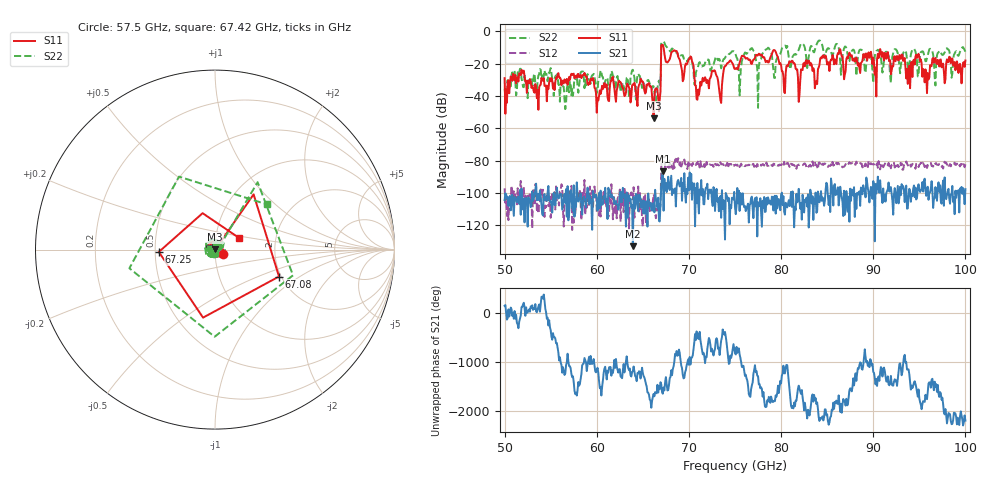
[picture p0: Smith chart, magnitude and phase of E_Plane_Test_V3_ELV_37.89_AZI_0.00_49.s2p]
! 11/26/2026 4:32:22 PM
! C:\ANRITSUVNA\TEMP\TEMP.S2P
! CHANNEL.1
! TR.MEASUREMENT
! RAW.DATA
# HZ S RI R 50.0
! FREQ.HZ  S11RE  S11IM  S21RE  S21IM  S12RE  S12IM  S22RE  S22IM
!; PortSelection: Port_12
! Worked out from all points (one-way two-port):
!   601 points, 50 GHz to 100 GHz, reference 50 ohm
!   highest |S21| = -86.52 dB at 67.17 GHz (marker M1); lowest = -133.0 dB at 63.92 GHz (marker M2)
!   lowest |S11| = -53.8 dB at 66.17 GHz (marker M3), VSWR 1.00, Z = 50.1 + j0.149 ohm
!   |S11| at or under -10 dB: start of sweep to 67 GHz; 67.25 GHz to end of sweep
!   |S22| runs from -48.1 to -5.6 dB; largest |S21 - S12| = 0.00016
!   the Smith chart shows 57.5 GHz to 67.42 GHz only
!   S11 on the Smith chart (normalised r, x): 57.5 GHz: 1.09, -0.05; 67.08 GHz: 1.95, -0.69; 67.25 GHz: 0.52, -0.01; 67.42 GHz: 1.29, +0.18
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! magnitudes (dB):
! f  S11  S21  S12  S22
! 50 GHz  -28.9  -104.5  -97.2  -35.4
! 57.5 GHz  -26.1  -95.3  -118.4  -34.6
! 58.42 GHz  -27.1  -113.5  -100.0  -24.8
! 60.17 GHz  -42.7  -106.6  -106.0  -30.3
! 63.92 GHz  -32.7  -133.0  -104.0  -23.8
! 66.17 GHz  -53.8  -106.4  -100.8  -34.0
! 66.67 GHz  -41.5  -103.0  -108.3  -31.6
! 67.08 GHz  -8.2  -91.1  -77.4  -6.8
! 67.17 GHz  -8.3  -86.5  -77.8  -6.3
! 67.25 GHz  -10.1  -111.0  -77.6  -6.2
! 67.42 GHz  -16.6  -98.2  -84.6  -8.3
! 70.25 GHz  -15.9  -88.2  -82.4  -18.7
! 70.92 GHz  -42.3  -93.9  -82.1  -23.2
! 75 GHz  -23.3  -108.7  -82.7  -13.0
! 77.58 GHz  -13.8  -106.8  -82.2  -21.7
! 78.5 GHz  -18.2  -107.2  -83.3  -10.8
! 79.33 GHz  -11.8  -101.8  -82.6  -28.8
! 80.25 GHz  -27.8  -102.0  -83.4  -9.4
! 83.42 GHz  -24.5  -102.1  -80.5  -10.8
! 91.67 GHz  -16.6  -93.6  -81.4  -15.2
! 95.83 GHz  -38.2  -97.7  -84.6  -16.5
! 100 GHz  -18.0  -97.7  -82.3  -12.5
